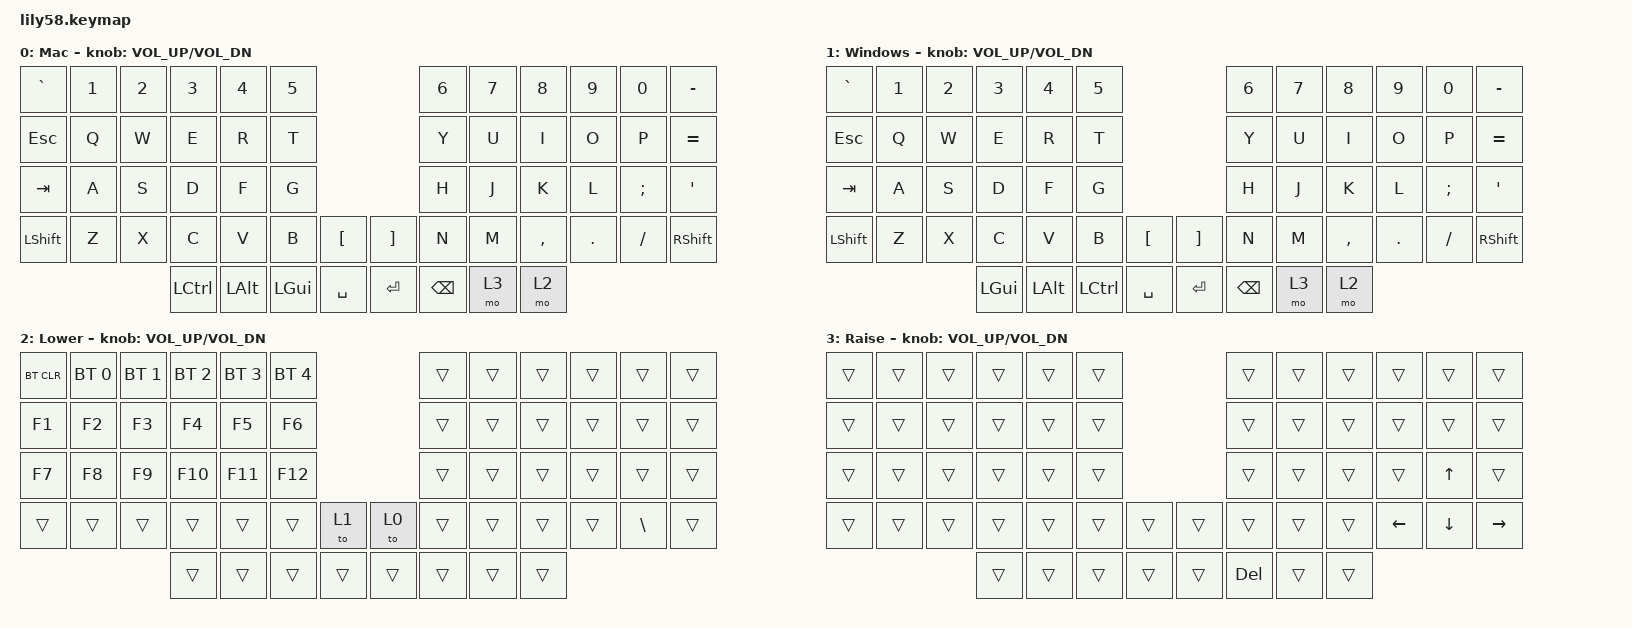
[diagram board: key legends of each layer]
/*
 * Copyright (c) 2020 The ZMK Contributors
 *
 * SPDX-License-Identifier: MIT
 */

#include <behaviors.dtsi>
#include <dt-bindings/zmk/bt.h>
#include <dt-bindings/zmk/keys.h>

/ {
    keymap {
        compatible = "zmk,keymap";

        MacOS {
            // ------------------------------------------------------------------------------------------------------------
            // |  ESC  |  1  |  2  |  3   |  4   |  5   |                   |  6   |  7    |  8    |  9   |   0   |   `   |
            // |  TAB  |  Q  |  W  |  E   |  R   |  T   |                   |  Y   |  U    |  I    |  O   |   P   |   -   |
            // |  CTRL |  A  |  S  |  D   |  F   |  G   |                   |  H   |  J    |  K    |  L   |   ;   |   '   |
            // | SHIFT |  Z  |  X  |  C   |  V   |  B   |   "["  |  |  "]"  |  N   |  M    |  ,    |  .   |   /   | SHIFT |
            //                     | ALT  | GUI  | LOWER|  SPACE |  | ENTER | RAISE| BSPC  | GUI   |

            display-name = "Mac";
            bindings = <
&kp GRAVE   &kp N1  &kp N2  &kp N3            &kp N4        &kp N5                                 &kp N6         &kp N7  &kp N8     &kp N9   &kp N0    &kp MINUS
&kp ESCAPE  &kp Q   &kp W   &kp E             &kp R         &kp T                                  &kp Y          &kp U   &kp I      &kp O    &kp P     &kp EQUAL
&kp TAB     &kp A   &kp S   &kp D             &kp F         &kp G                                  &kp H          &kp J   &kp K      &kp L    &kp SEMI  &kp SQT
&kp LSHFT   &kp Z   &kp X   &kp C             &kp V         &kp B         &kp LBKT     &kp RBKT    &kp N          &kp M   &kp COMMA  &kp DOT  &kp FSLH  &kp RSHFT
                            &kp LEFT_CONTROL  &kp LEFT_ALT  &kp LEFT_GUI  &kp SPACE    &kp RETURN  &kp BACKSPACE  &mo 3   &mo 2
            >;

            sensor-bindings = <&inc_dec_kp C_VOL_UP C_VOL_DN>;
        };

        Windows {
            display-name = "Windows";
            bindings = <
&kp GRAVE   &kp N1  &kp N2  &kp N3        &kp N4        &kp N5                                     &kp N6         &kp N7  &kp N8     &kp N9   &kp N0    &kp MINUS
&kp ESCAPE  &kp Q   &kp W   &kp E         &kp R         &kp T                                      &kp Y          &kp U   &kp I      &kp O    &kp P     &kp EQUAL
&kp TAB     &kp A   &kp S   &kp D         &kp F         &kp G                                      &kp H          &kp J   &kp K      &kp L    &kp SEMI  &kp SQT
&kp LSHFT   &kp Z   &kp X   &kp C         &kp V         &kp B             &kp LBKT     &kp RBKT    &kp N          &kp M   &kp COMMA  &kp DOT  &kp FSLH  &kp RSHFT
                            &kp LEFT_GUI  &kp LEFT_ALT  &kp LEFT_CONTROL  &kp SPACE    &kp RETURN  &kp BACKSPACE  &mo 3   &mo 2
            >;

            sensor-bindings = <&inc_dec_kp C_VOL_UP C_VOL_DN>;
        };

        lower_layer {
            // ------------------------------------------------------------------------------------------------------------
            // | BTCLR | BT1 | BT2 |  BT3 |  BT4 |  BT5 |                   |      |       |       |      |       |       |
            // |  F1   |  F2 |  F3 |  F4  |  F5  |  F6  |                   |  F7  |  F8   |  F9   |  F10 |  F11  |  F12  |
            // |   `   |  !  |  @  |  #   |  $   |  %   |                   |  ^   |  &    |  *    |  (   |   )   |   ~   |
            // |       |     |     |      |      |      |        |  |       |      |  _    |  +    |  {   |   }   |  "|"  |
            //                     |      |      |      |        |  |       |      |       |       |

            display-name = "Lower";
            bindings = <
&bt BT_CLR  &bt BT_SEL 0  &bt BT_SEL 1  &bt BT_SEL 2  &bt BT_SEL 3  &bt BT_SEL 4                    &trans  &trans  &trans  &trans  &trans         &trans
&kp F1      &kp F2        &kp F3        &kp F4        &kp F5        &kp F6                          &trans  &trans  &trans  &trans  &trans         &trans
&kp F7      &kp F8        &kp F9        &kp F10       &kp F11       &kp F12                         &trans  &trans  &trans  &trans  &trans         &trans
&trans      &trans        &trans        &trans        &trans        &trans        &to 1     &to 0   &trans  &trans  &trans  &trans  &kp BACKSLASH  &trans
                                        &trans        &trans        &trans        &trans    &trans  &trans  &trans  &trans
            >;

            sensor-bindings = <&inc_dec_kp C_VOL_UP C_VOL_DN>;
        };

        raise_layer {
            // ------------------------------------------------------------------------------------------------------------
            // |       |     |     |      |      |      |                   |      |       |       |      |       |       |
            // |   `   |  1  |  2  |  3   |  4   |  5   |                   |  6   |   7   |   8   |  9   |   0   |       |
            // |   F1  |  F2 |  F3 |  F4  |  F5  |  F6  |                   |      |   <-  |   v   |  ^   |  ->   |       |
            // |   F7  |  F8 |  F9 |  F10 |  F11 |  F12 |        |  |       |  +   |   -   |   =   |  [   |   ]   |   \   |
            //                     |      |      |      |        |  |       |      |       |       |

            display-name = "Raise";
            bindings = <
&trans  &trans  &trans  &trans  &trans  &trans                    &trans      &trans  &trans  &trans    &trans          &trans
&trans  &trans  &trans  &trans  &trans  &trans                    &trans      &trans  &trans  &trans    &trans          &trans
&trans  &trans  &trans  &trans  &trans  &trans                    &trans      &trans  &trans  &trans    &kp UP_ARROW    &trans
&trans  &trans  &trans  &trans  &trans  &trans  &trans    &trans  &trans      &trans  &trans  &kp LEFT  &kp DOWN_ARROW  &kp RIGHT
                        &trans  &trans  &trans  &trans    &trans  &kp DELETE  &trans  &trans
            >;

            sensor-bindings = <&inc_dec_kp C_VOL_UP C_VOL_DN>;
        };
    };
};
